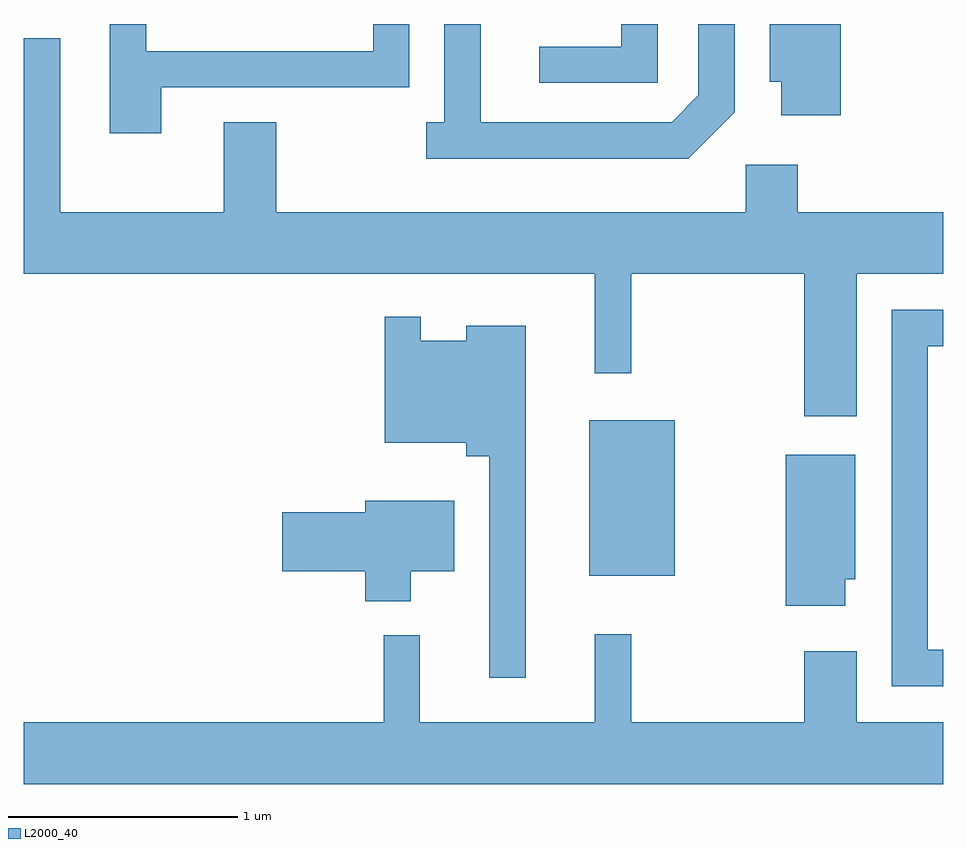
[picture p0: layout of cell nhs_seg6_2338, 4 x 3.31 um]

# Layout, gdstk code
import gdstk
lib = gdstk.Library(unit=1e-6, precision=1e-09)
def R(c, l, rs):  # rectangles x0, y0, x1, y1
    for r in rs: c.add(gdstk.rectangle(r[:2], r[2:], *l))
def P(c, l, *ps):  # polygons
    for p in ps: c.add(gdstk.Polygon(p, *l))
L2000_40 = (2000, 40)

nhs_seg6_2338 = lib.new_cell('nhs_seg6_2338')
R(nhs_seg6_2338, L2000_40, [(258.071,1619.761,258.444,1620.439)])
P(nhs_seg6_2338, L2000_40, [(258.369,1622.162),(258.211,1622.162),(258.211,1622.064),(257.853,1622.064),(257.853,1621.906),(258.369,1621.906)],
  [(258.704,1621.779),(258.704,1622.162),(258.546,1622.162),(258.546,1621.852),(258.429,1621.734),(257.599,1621.734),(257.599,1622.162),(257.441,1622.162),(257.441,1621.734),(257.363,1621.734),(257.363,1621.576),(258.502,1621.576)],
  [(256.209,1621.886),(257.289,1621.886),(257.289,1622.162),(257.131,1622.162),(257.131,1622.044),(256.144,1622.044),(256.144,1622.162),(255.986,1622.162),(255.986,1621.686),(256.209,1621.686)],
  [(259.164,1622.162),(258.856,1622.162),(258.856,1621.911),(258.906,1621.911),(258.906,1621.766),(259.164,1621.766)],
  [(259.234,1621.076),(259.611,1621.076),(259.611,1621.344),(258.979,1621.344),(258.979,1621.549),(258.751,1621.549),(258.751,1621.344),(256.709,1621.344),(256.709,1621.734),(256.481,1621.734),(256.481,1621.344),(255.769,1621.344),(255.769,1622.099),(255.611,1622.099),(255.611,1621.076),(258.096,1621.076),(258.096,1620.643),(258.254,1620.643),(258.254,1621.076),(259.006,1621.076),(259.006,1620.456),(259.234,1620.456)],
  [(259.611,1619.439),(259.544,1619.439),(259.544,1620.761),(259.611,1620.761),(259.611,1620.919),(259.386,1620.919),(259.386,1619.281),(259.611,1619.281)],
  [(257.794,1620.849),(257.536,1620.849),(257.536,1620.784),(257.339,1620.784),(257.339,1620.888),(257.181,1620.888),(257.181,1620.341),(257.536,1620.341),(257.536,1620.281),(257.636,1620.281),(257.636,1619.318),(257.794,1619.318)],
  [(259.184,1619.746),(259.229,1619.746),(259.229,1620.289),(258.926,1620.289),(258.926,1619.631),(259.184,1619.631)],
  [(257.294,1619.781),(257.484,1619.781),(257.484,1620.089),(257.096,1620.089),(257.096,1620.039),(256.736,1620.039),(256.736,1619.781),(257.096,1619.781),(257.096,1619.651),(257.294,1619.651)],
  [(259.611,1619.124),(259.234,1619.124),(259.234,1619.434),(259.006,1619.434),(259.006,1619.124),(258.254,1619.124),(258.254,1619.508),(258.096,1619.508),(258.096,1619.124),(257.334,1619.124),(257.334,1619.503),(257.176,1619.503),(257.176,1619.124),(255.611,1619.124),(255.611,1618.856),(259.611,1618.856)])

lib.write_gds('nhs_seg6_2338.gds')
